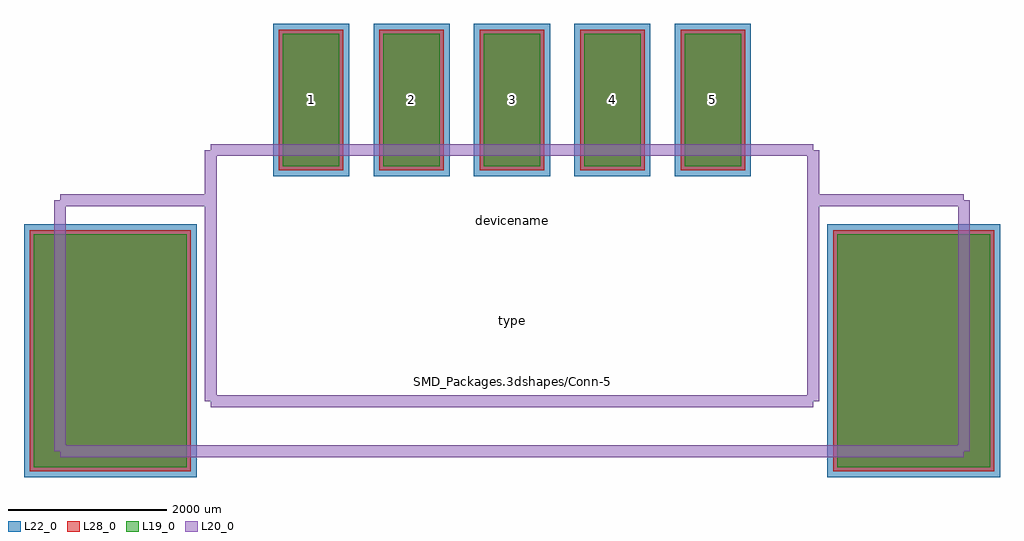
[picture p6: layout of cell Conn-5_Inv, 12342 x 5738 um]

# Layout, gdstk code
import gdstk
lib = gdstk.Library(unit=1e-6, precision=1e-09)
def R(c, l, rs):  # rectangles x0, y0, x1, y1
    for r in rs: c.add(gdstk.rectangle(r[:2], r[2:], *l))
def A(c, l, x, y, w, h, nx, ny, dx, dy):  # array of equal rectangles
    R(c, l, [(x+i*dx, y+j*dy, x+i*dx+w, y+j*dy+h) for i in range(nx) for j in range(ny)])
L19_0 = (19, 0)
L20_0 = (20, 0)
L22_0 = (22, 0)
L28_0 = (28, 0)

conn_5_inv = lib.new_cell('Conn-5_Inv')
A(conn_5_inv, L19_0, -2896.4, -839, 712.8, 1678, 5, 1, 1270, 0)
R(conn_5_inv, L19_0, [(-6046,-4649,-4114,-1701), (4114,-4649,6046,-1701)])
A(conn_5_inv, L22_0, -3021.4, -964, 962.8, 1928, 5, 1, 1270, 0)
R(conn_5_inv, L22_0, [(-6171,-4774,-3989,-1576), (3989,-4774,6171,-1576)])
A(conn_5_inv, L28_0, -2946.4, -889, 812.8, 1778, 5, 1, 1270, 0)
R(conn_5_inv, L28_0, [(-6096,-4699,-4064,-1651), (4064,-4699,6096,-1651)])
conn_5_inv.add(gdstk.FlexPath([(5715,-4445),(5715,-1270)], 149.998, ends="flush", simple_path=True, layer=20, datatype=0))  # L20_0
conn_5_inv.add(gdstk.FlexPath([(3810,-1270),(5715,-1270)], 149.998, ends="flush", simple_path=True, layer=20, datatype=0))  # L20_0
conn_5_inv.add(gdstk.FlexPath([(3810,-635),(3810,-1270)], 149.998, ends="flush", simple_path=True, layer=20, datatype=0))  # L20_0
conn_5_inv.add(gdstk.FlexPath([(-3810,-635),(3810,-635)], 149.998, ends="flush", simple_path=True, layer=20, datatype=0))  # L20_0
conn_5_inv.add(gdstk.FlexPath([(-3810,-1270),(-3810,-635)], 149.998, ends="flush", simple_path=True, layer=20, datatype=0))  # L20_0
conn_5_inv.add(gdstk.FlexPath([(-5715,-1270),(-3810,-1270)], 149.998, ends="flush", simple_path=True, layer=20, datatype=0))  # L20_0
conn_5_inv.add(gdstk.FlexPath([(-5715,-4445),(-5715,-1270)], 149.998, ends="flush", simple_path=True, layer=20, datatype=0))  # L20_0
conn_5_inv.add(gdstk.FlexPath([(5715,-4445),(-5715,-4445)], 149.998, ends="flush", simple_path=True, layer=20, datatype=0))  # L20_0
conn_5_inv.add(gdstk.FlexPath([(-3810,-3810),(-3810,-1270)], 149.998, ends="flush", simple_path=True, layer=20, datatype=0))  # L20_0
conn_5_inv.add(gdstk.FlexPath([(3810,-3810),(-3810,-3810)], 149.998, ends="flush", simple_path=True, layer=20, datatype=0))  # L20_0
conn_5_inv.add(gdstk.FlexPath([(3810,-1270),(3810,-3810)], 149.998, ends="flush", simple_path=True, layer=20, datatype=0))  # L20_0
conn_5_inv.add(gdstk.Label('SMD_Packages.3dshapes/Conn-5_Inv.wrl', (0,-3556), layer=12, texttype=0))
conn_5_inv.add(gdstk.Label('5', (2540,0), layer=28, texttype=0))
conn_5_inv.add(gdstk.Label('4', (1270,0), layer=28, texttype=0))
conn_5_inv.add(gdstk.Label('1', (-2540,0), layer=28, texttype=0))
conn_5_inv.add(gdstk.Label('2', (-1270,0), layer=28, texttype=0))
conn_5_inv.add(gdstk.Label('3', (0,0), layer=28, texttype=0))
conn_5_inv.add(gdstk.Label('type', (0,-2794), layer=9, texttype=0))
conn_5_inv.add(gdstk.Label('devicename', (0,-1524), layer=9, texttype=0))

lib.write_gds('Conn-5_Inv.gds')
